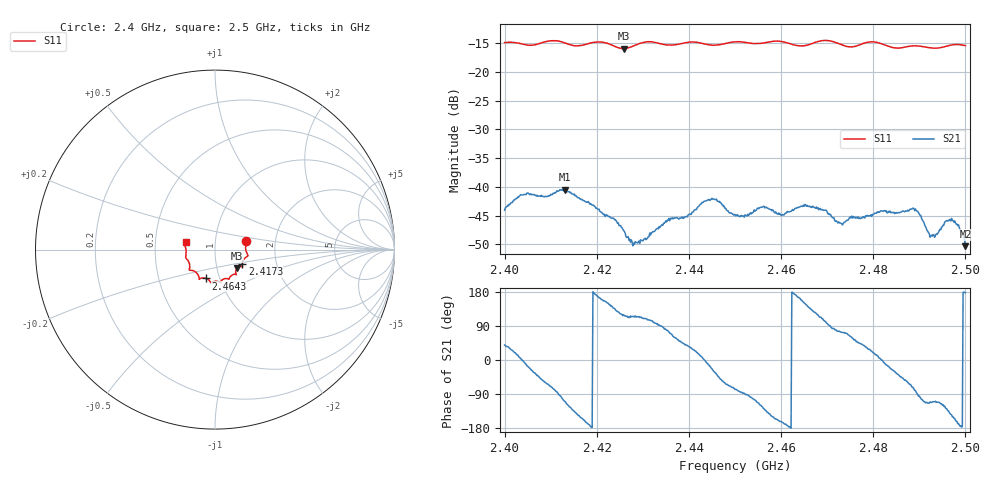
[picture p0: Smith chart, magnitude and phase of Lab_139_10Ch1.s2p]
# Hz S RI R 50
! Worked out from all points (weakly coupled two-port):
!   601 points, 2.4 GHz to 2.5 GHz, reference 50 ohm
!   highest |S21| = -40.47 dB at 2.413 GHz (marker M1); lowest = -50.3 dB at 2.5 GHz (marker M2)
!   lowest |S11| = -15.9 dB at 2.4258 GHz (marker M3), VSWR 1.38, Z = 62.3 - j13.2 ohm
!   |S11| at or under -10 dB: start of sweep to end of sweep
!   S12 and S22 are empty: the file has one direction only
!   S11 on the Smith chart (normalised r, x): 2.4 GHz: 1.41, +0.14; 2.4173 GHz: 1.34, -0.23; 2.4643 GHz: 0.86, -0.28; 2.5 GHz: 0.72, +0.06
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2.4e9  0.1732 0.0488  0.00484 0.004  0 0  0 0
2.403833e9  0.1729 0.0272  0.00852 1.49e-05  0 0  0 0
2.413e9  0.1745 -0.0412  -0.00304 -0.00897  0 0  0 0
2.416667e9  0.1528 -0.0748  -0.00691 -0.00349  0 0  0 0
2.417333e9  0.1518 -0.0824  -0.0071 -0.00264  0 0  0 0
2.423833e9  0.1382 -0.0945  -0.00373 0.00361  0 0  0 0
2.425833e9  0.1218 -0.1033  -0.00205 0.00365  0 0  0 0
2.428333e9  0.1152 -0.1264  -0.00149 0.00299  0 0  0 0
2.433333e9  0.1128 -0.1375  -0.00015 0.00431  0 0  0 0
2.444667e9  0.0582 -0.1613  0.00731 -0.00239  0 0  0 0
2.45e9  0.0289 -0.1809  0.00122 -0.00563  0 0  0 0
2.455833e9  -0.00515 -0.1776  -0.00361 -0.00559  0 0  0 0
2.460167e9  -0.025 -0.1822  -0.00545 -0.00157  0 0  0 0
2.464333e9  -0.0502 -0.1605  -0.00632 0.00253  0 0  0 0
2.466667e9  -0.076 -0.1589  -0.00446 0.00488  0 0  0 0
2.473167e9  -0.0922 -0.1455  0.00136 0.00457  0 0  0 0
2.483333e9  -0.1408 -0.0898  0.00587 -0.00177  0 0  0 0
2.489167e9  -0.1626 -0.0444  0.000997 -0.00635  0 0  0 0
2.492833e9  -0.1603 -0.0163  -0.00131 -0.00349  0 0  0 0
2.497167e9  -0.1697 0.0279  -0.00446 -0.00258  0 0  0 0
2.498667e9  -0.1692 0.0354  -0.00438 -0.000668  0 0  0 0
2.5e9  -0.1637 0.0424  -0.00305 0.000119  0 0  0 0
